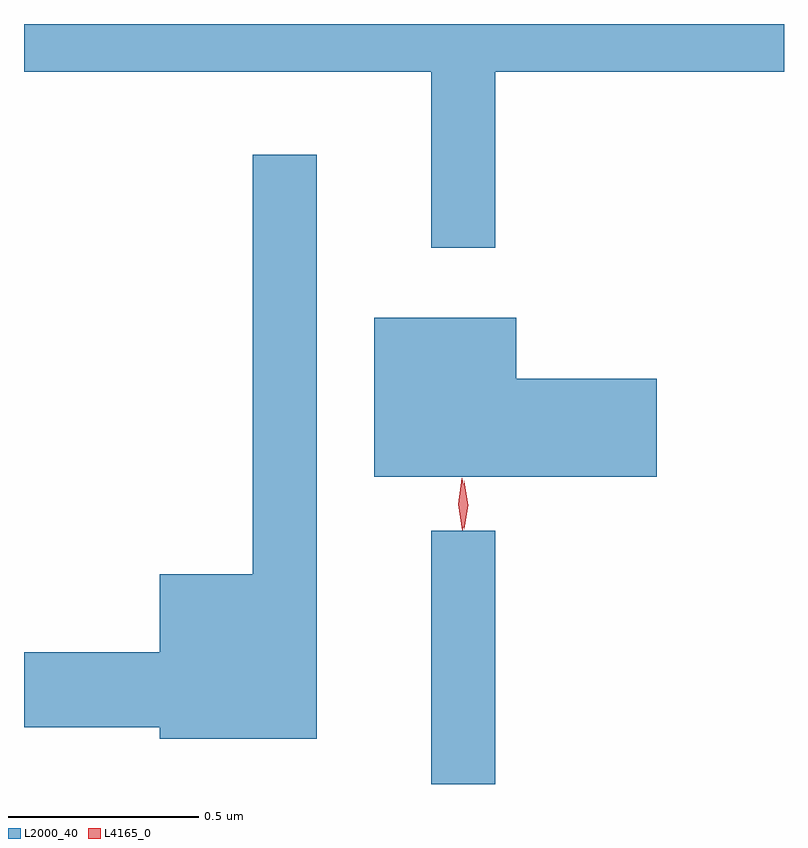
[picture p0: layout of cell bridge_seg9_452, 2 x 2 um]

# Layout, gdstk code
import gdstk
lib = gdstk.Library(unit=1e-6, precision=1e-09)
def R(c, l, rs):  # rectangles x0, y0, x1, y1
    for r in rs: c.add(gdstk.rectangle(r[:2], r[2:], *l))
def P(c, l, *ps):  # polygons
    for p in ps: c.add(gdstk.Polygon(p, *l))
L2000_40 = (2000, 40)
L4165_0 = (4165, 0)

bridge_seg9_452 = lib.new_cell('bridge_seg9_452')
R(bridge_seg9_452, L2000_40, [(386.211,2078.742,386.379,2079.408)])
P(bridge_seg9_452, L2000_40, [(385.139,2080.616),(386.211,2080.616),(386.211,2080.153),(386.379,2080.153),(386.379,2080.616),(387.139,2080.616),(387.139,2080.742),(385.139,2080.742)],
  [(385.909,2080.398),(385.741,2080.398),(385.741,2079.294),(385.496,2079.294),(385.496,2079.089),(385.139,2079.089),(385.139,2078.891),(385.496,2078.891),(385.496,2078.861),(385.909,2078.861)],
  [(386.804,2079.809),(386.434,2079.809),(386.434,2079.969),(386.061,2079.969),(386.061,2079.551),(386.804,2079.551)])
P(bridge_seg9_452, L4165_0, [(386.292,2079.41),(386.282,2079.478),(386.291,2079.546),(386.292,2079.546),(386.292,2079.546),(386.302,2079.478),(386.293,2079.41),(386.293,2079.41)],
  [(386.297,2079.413),(386.288,2079.476),(386.297,2079.539),(386.298,2079.54),(386.298,2079.539),(386.308,2079.476),(386.298,2079.413),(386.298,2079.413)])

lib.write_gds('bridge_seg9_452.gds')
